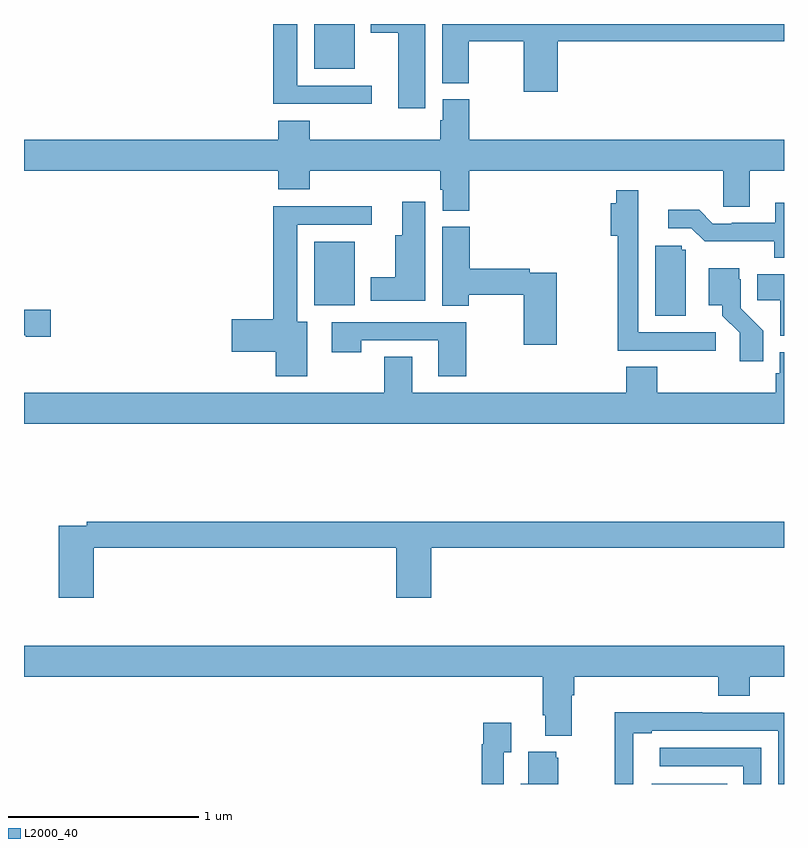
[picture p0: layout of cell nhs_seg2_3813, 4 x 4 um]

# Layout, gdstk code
import gdstk
lib = gdstk.Library(unit=1e-6, precision=1e-09)
def R(c, l, rs):  # rectangles x0, y0, x1, y1
    for r in rs: c.add(gdstk.rectangle(r[:2], r[2:], *l))
def P(c, l, *ps):  # polygons
    for p in ps: c.add(gdstk.Polygon(p, *l))
L2000_40 = (2000, 40)

nhs_seg2_3813 = lib.new_cell('nhs_seg2_3813')
R(nhs_seg2_3813, L2000_40, [(316.304,585.8,316.7,585.802), (314.528,588.32,314.74,588.655), (314.528,589.565,314.74,589.8)])
P(nhs_seg2_3813, L2000_40, [(315.112,589.8),(314.825,589.8),(314.825,589.754),(314.969,589.754),(314.969,589.356),(315.112,589.356)],
  [(315.809,589.708),(317,589.708),(317,589.8),(315.2,589.8),(315.2,589.489),(315.342,589.489),(315.342,589.708),(315.631,589.708),(315.631,589.443),(315.809,589.443)],
  [(314.83,589.476),(314.437,589.476),(314.437,589.8),(314.312,589.8),(314.312,589.379),(314.83,589.379)],
  [(315.344,589.028),(316.68,589.028),(316.68,588.838),(316.819,588.838),(316.819,589.028),(317,589.028),(317,589.192),(315.344,589.192),(315.344,589.404),(315.203,589.404),(315.203,589.293),(315.191,589.293),(315.191,589.192),(314.504,589.192),(314.504,589.291),(314.339,589.291),(314.339,589.192),(313,589.192),(313,589.028),(314.339,589.028),(314.339,588.929),(314.504,588.929),(314.504,589.028),(315.191,589.028),(315.191,588.927),(315.203,588.927),(315.203,588.817),(315.344,588.817)],
  [(316.642,588.177),(316.233,588.177),(316.233,588.702),(316.234,588.702),(316.234,588.925),(316.117,588.925),(316.117,588.856),(316.088,588.856),(316.088,588.686),(316.125,588.686),(316.125,588.081),(316.417,588.081),(316.417,588.079),(316.642,588.079)],
  [(315.112,588.865),(314.99,588.865),(314.99,588.688),(314.954,588.688),(314.954,588.466),(314.825,588.466),(314.825,588.344),(315.112,588.344)],
  [(317,588.859),(316.955,588.859),(316.955,588.753),(316.726,588.753),(316.726,588.75),(316.626,588.75),(316.553,588.823),(316.392,588.823),(316.392,588.726),(316.512,588.726),(316.583,588.656),(316.948,588.656),(316.948,588.569),(317,588.569)],
  [(314.491,588.232),(314.437,588.232),(314.437,588.744),(314.83,588.744),(314.83,588.842),(314.312,588.842),(314.312,588.245),(314.094,588.245),(314.094,588.074),(314.324,588.074),(314.324,587.946),(314.491,587.946)],
  [(315.804,588.492),(315.662,588.492),(315.662,588.512),(315.347,588.512),(315.347,588.732),(315.2,588.732),(315.2,588.316),(315.342,588.316),(315.342,588.376),(315.631,588.376),(315.631,588.111),(315.804,588.111)],
  [(316.483,588.612),(316.461,588.612),(316.461,588.633),(316.322,588.633),(316.322,588.264),(316.483,588.264)],
  [(316.892,588.186),(316.773,588.305),(316.773,588.456),(316.765,588.456),(316.765,588.514),(316.604,588.514),(316.604,588.32),(316.676,588.32),(316.676,588.265),(316.767,588.175),(316.767,588.024),(316.892,588.024)],
  [(317,588.484),(316.858,588.484),(316.858,588.346),(316.979,588.346),(316.979,588.158),(317,588.158)],
  [(313.141,588.296),(313,588.296),(313,588.161),(313.008,588.161),(313.008,588.154),(313.141,588.154)],
  [(315.327,588.231),(314.619,588.231),(314.619,588.072),(314.775,588.072),(314.775,588.135),(315.179,588.135),(315.179,587.946),(315.327,587.946)],
  [(317,588.073),(316.977,588.073),(316.977,587.961),(316.957,587.961),(316.957,587.86),(316.334,587.86),(316.334,587.996),(316.169,587.996),(316.169,587.86),(315.043,587.86),(315.043,588.05),(314.896,588.05),(314.896,587.86),(313,587.86),(313,587.696),(317,587.696)],
  [(313.367,587.044),(314.96,587.044),(314.96,586.779),(315.143,586.779),(315.143,587.044),(317,587.044),(317,587.18),(313.33,587.18),(313.33,587.16),(313.184,587.16),(313.184,586.779),(313.367,586.779)],
  [(315.883,586.268),(315.896,586.268),(315.896,586.364),(316.655,586.364),(316.655,586.265),(316.82,586.265),(316.82,586.364),(317,586.364),(317,586.528),(313,586.528),(313,586.364),(315.731,586.364),(315.731,586.162),(315.743,586.162),(315.743,586.055),(315.883,586.055)],
  [(316.206,586.068),(316.303,586.068),(316.303,586.08),(316.971,586.08),(316.971,585.8),(317,585.8),(317,586.176),(316.571,586.176),(316.571,586.178),(316.108,586.178),(316.108,585.871),(316.11,585.871),(316.11,585.8),(316.206,585.8)],
  [(315.525,585.967),(315.565,585.967),(315.565,586.123),(315.417,586.123),(315.417,586.01),(315.409,586.01),(315.409,585.8),(315.525,585.8)],
  [(316.881,585.99),(316.347,585.99),(316.347,585.894),(316.785,585.894),(316.785,585.8),(316.881,585.8)],
  [(315.811,585.939),(315.8,585.939),(315.8,585.97),(315.653,585.97),(315.653,585.802),(315.614,585.802),(315.614,585.8),(315.811,585.8)])

lib.write_gds('nhs_seg2_3813.gds')
